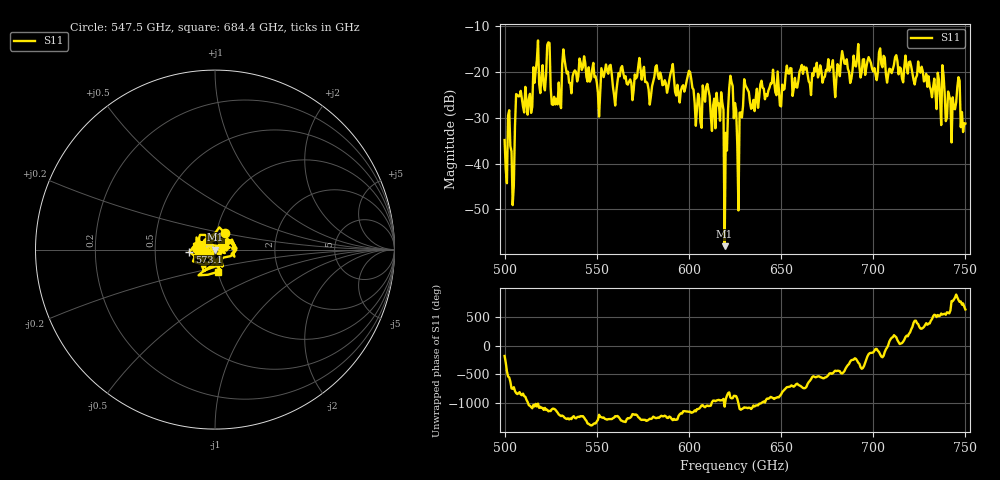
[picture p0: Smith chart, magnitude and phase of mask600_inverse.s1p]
!Created with skrf (http://scikit-rf.org).
# GHz S MA R 50.0
!freq magS11 angS11
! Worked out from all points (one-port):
!   401 points, 500 GHz to 750 GHz, reference 50 ohm
!   lowest |S11| = -58.0 dB at 619.4 GHz (marker M1), VSWR 1.00, Z = 50.1 + j0.0467 ohm
!   |S11| at or under -10 dB: start of sweep to end of sweep
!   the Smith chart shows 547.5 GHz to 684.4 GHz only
!   S11 on the Smith chart (normalised r, x): 547.5 GHz: 1.10, +0.21; 573.1 GHz: 0.75, -0.02; 684.4 GHz: 1.01, -0.25
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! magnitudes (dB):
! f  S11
! 500 GHz  -34.8
! 504.4 GHz  -49.1
! 507.5 GHz  -25.3
! 513.8 GHz  -24.7
! 516.9 GHz  -19.6
! 520.6 GHz  -18.5
! 523.8 GHz  -13.5
! 526.9 GHz  -25.4
! 531.2 GHz  -18.3
! 547.5 GHz  -19.4
! 562.5 GHz  -20.9
! 573.1 GHz  -16.9
! 593.8 GHz  -22.8
! 600 GHz  -19.7
! 616.2 GHz  -26.8
! 619.4 GHz  -58.0
! 620.6 GHz  -37.1
! 622.5 GHz  -20.8
! 625 GHz  -26.7
! 627.5 GHz  -28.9
! 631.2 GHz  -23.3
! 656.2 GHz  -25.2
! 684.4 GHz  -18.1
! 687.5 GHz  -22.4
! 718.8 GHz  -20.3
! 743.1 GHz  -25.5
! 745.6 GHz  -23.2
! 750 GHz  -31.2
